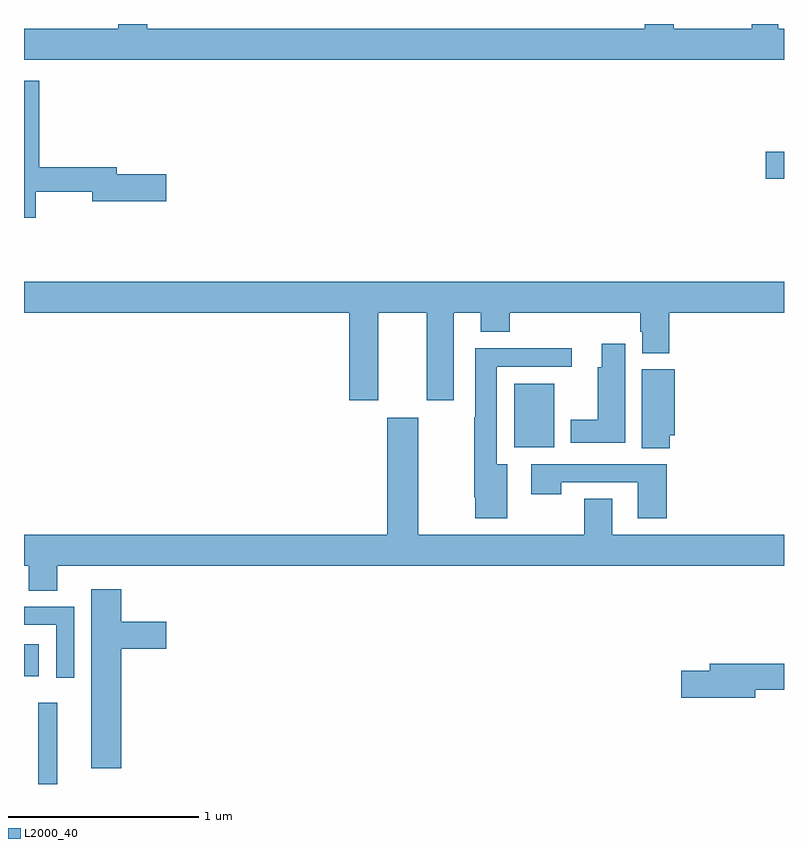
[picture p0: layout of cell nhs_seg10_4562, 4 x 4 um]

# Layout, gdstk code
import gdstk
lib = gdstk.Library(unit=1e-6, precision=1e-09)
def R(c, l, rs):  # rectangles x0, y0, x1, y1
    for r in rs: c.add(gdstk.rectangle(r[:2], r[2:], *l))
def P(c, l, *ps):  # polygons
    for p in ps: c.add(gdstk.Polygon(p, *l))
L2000_40 = (2000, 40)

nhs_seg10_4562 = lib.new_cell('nhs_seg10_4562')
R(nhs_seg10_4562, L2000_40, [(371.075,1300.5,371.174,1300.927), (371,1301.066,371.077,1301.236), (373.58,1302.272,373.792,1302.607), (374.904,1303.685,375,1303.827)])
P(nhs_seg10_4562, L2000_40, [(375,1304.476),(374.971,1304.476),(374.971,1304.5),(374.831,1304.5),(374.831,1304.476),(374.419,1304.476),(374.419,1304.5),(374.267,1304.5),(374.267,1304.476),(371.648,1304.476),(371.648,1304.5),(371.496,1304.5),(371.496,1304.476),(371,1304.476),(371,1304.312),(375,1304.312)],
  [(371.062,1303.617),(371.36,1303.617),(371.36,1303.567),(371.749,1303.567),(371.749,1303.709),(371.488,1303.709),(371.488,1303.745),(371.081,1303.745),(371.081,1304.202),(371,1304.202),(371,1303.481),(371.062,1303.481)],
  [(372.865,1302.98),(373.121,1302.98),(373.121,1302.519),(373.261,1302.519),(373.261,1302.98),(373.403,1302.98),(373.403,1302.881),(373.556,1302.881),(373.556,1302.98),(374.243,1302.98),(374.243,1302.879),(374.255,1302.879),(374.255,1302.767),(374.396,1302.767),(374.396,1302.98),(375,1302.98),(375,1303.144),(371,1303.144),(371,1302.98),(372.713,1302.98),(372.713,1302.519),(372.865,1302.519)],
  [(374.164,1302.817),(374.042,1302.817),(374.042,1302.693),(374.021,1302.693),(374.021,1302.418),(373.877,1302.418),(373.877,1302.296),(374.164,1302.296)],
  [(373.543,1302.184),(373.489,1302.184),(373.489,1302.696),(373.882,1302.696),(373.882,1302.794),(373.376,1302.794),(373.376,1302.431),(373.369,1302.431),(373.369,1302.01),(373.376,1302.01),(373.376,1301.898),(373.543,1301.898)],
  [(374.399,1302.335),(374.425,1302.335),(374.425,1302.682),(374.252,1302.682),(374.252,1302.268),(374.399,1302.268)],
  [(371.176,1301.648),(375,1301.648),(375,1301.812),(374.095,1301.812),(374.095,1302.002),(373.948,1302.002),(373.948,1301.812),(373.075,1301.812),(373.075,1302.427),(372.911,1302.427),(372.911,1301.812),(371,1301.812),(371,1301.648),(371.024,1301.648),(371.024,1301.518),(371.176,1301.518)],
  [(374.384,1302.183),(373.671,1302.183),(373.671,1302.024),(373.827,1302.024),(373.827,1302.087),(374.231,1302.087),(374.231,1301.898),(374.384,1301.898)],
  [(371.513,1301.213),(371.749,1301.213),(371.749,1301.355),(371.513,1301.355),(371.513,1301.524),(371.354,1301.524),(371.354,1300.584),(371.513,1300.584)],
  [(371.265,1301.433),(371,1301.433),(371,1301.337),(371.169,1301.337),(371.169,1301.058),(371.265,1301.058)],
  [(374.848,1300.996),(375,1300.996),(375,1301.132),(374.609,1301.132),(374.609,1301.096),(374.46,1301.096),(374.46,1300.954),(374.848,1300.954)])

lib.write_gds('nhs_seg10_4562.gds')
